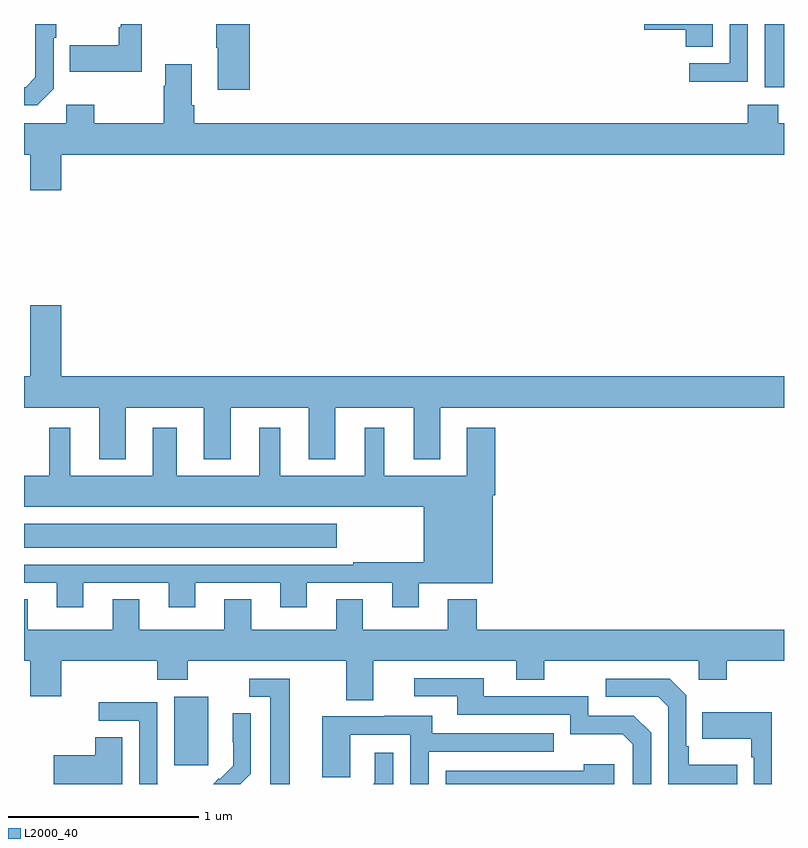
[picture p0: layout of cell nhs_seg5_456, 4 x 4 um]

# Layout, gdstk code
import gdstk
lib = gdstk.Library(unit=1e-6, precision=1e-09)
def R(c, l, rs):  # rectangles x0, y0, x1, y1
    for r in rs: c.add(gdstk.rectangle(r[:2], r[2:], *l))
def P(c, l, *ps):  # polygons
    for p in ps: c.add(gdstk.Polygon(p, *l))
L2000_40 = (2000, 40)

nhs_seg5_456 = lib.new_cell('nhs_seg5_456')
R(nhs_seg5_456, L2000_40, [(141.791,834.897,141.97,835.258), (141,836.042,142.645,836.17), (144.899,838.466,145,838.799)])
P(nhs_seg5_456, L2000_40, [(142.187,838.799),(142.012,838.799),(142.012,838.675),(142.019,838.675),(142.019,838.452),(142.187,838.452)],
  [(141.156,838.458),(141.156,838.727),(141.169,838.727),(141.169,838.799),(141.06,838.799),(141.06,838.518),(141.009,838.467),(141,838.467),(141,838.371),(141.069,838.371)],
  [(141.619,838.799),(141.51,838.799),(141.51,838.783),(141.498,838.783),(141.498,838.687),(141.241,838.687),(141.241,838.547),(141.619,838.547)],
  [(144.625,838.799),(144.264,838.799),(144.264,838.769),(144.482,838.769),(144.482,838.678),(144.625,838.678)],
  [(144.81,838.799),(144.714,838.799),(144.714,838.593),(144.501,838.593),(144.501,838.495),(144.81,838.495)],
  [(141.196,838.112),(145,838.112),(145,838.276),(144.969,838.276),(144.969,838.375),(144.809,838.375),(144.809,838.276),(141.896,838.276),(141.896,838.372),(141.883,838.372),(141.883,838.588),(141.743,838.588),(141.743,838.475),(141.736,838.475),(141.736,838.276),(141.369,838.276),(141.369,838.375),(141.222,838.375),(141.222,838.276),(141,838.276),(141,838.112),(141.032,838.112),(141.032,837.924),(141.196,837.924)],
  [(141.535,836.78),(141.947,836.78),(141.947,836.507),(142.087,836.507),(142.087,836.78),(142.499,836.78),(142.499,836.507),(142.639,836.507),(142.639,836.78),(143.051,836.78),(143.051,836.507),(143.191,836.507),(143.191,836.78),(145,836.78),(145,836.944),(141.196,836.944),(141.196,837.319),(141.032,837.319),(141.032,836.944),(141,836.944),(141,836.78),(141.395,836.78),(141.395,836.507),(141.535,836.507)],
  [(141.313,835.857),(141.761,835.857),(141.761,835.728),(141.901,835.728),(141.901,835.857),(142.349,835.857),(142.349,835.728),(142.489,835.728),(142.489,835.857),(142.937,835.857),(142.937,835.728),(143.077,835.728),(143.077,835.856),(143.467,835.856),(143.467,836.318),(143.48,836.318),(143.48,836.674),(143.33,836.674),(143.33,836.422),(142.897,836.422),(142.897,836.674),(142.793,836.674),(142.793,836.422),(142.348,836.422),(142.348,836.674),(142.238,836.674),(142.238,836.422),(141.805,836.422),(141.805,836.674),(141.677,836.674),(141.677,836.422),(141.244,836.422),(141.244,836.674),(141.134,836.674),(141.134,836.422),(141,836.422),(141,836.258),(143.105,836.258),(143.105,835.966),(142.732,835.966),(142.732,835.953),(141,835.953),(141,835.857),(141.173,835.857),(141.173,835.728),(141.313,835.728)],
  [(142.837,835.448),(143.591,835.448),(143.591,835.349),(143.739,835.349),(143.739,835.448),(144.552,835.448),(144.552,835.349),(144.699,835.349),(144.699,835.448),(145,835.448),(145,835.612),(143.384,835.612),(143.384,835.771),(143.231,835.771),(143.231,835.612),(142.783,835.612),(142.783,835.772),(142.643,835.772),(142.643,835.612),(142.195,835.612),(142.195,835.772),(142.055,835.772),(142.055,835.612),(141.607,835.612),(141.607,835.772),(141.467,835.772),(141.467,835.612),(141.019,835.612),(141.019,835.772),(141,835.772),(141,835.448),(141.032,835.448),(141.032,835.26),(141.196,835.26),(141.196,835.448),(141.701,835.448),(141.701,835.349),(141.861,835.349),(141.861,835.448),(142.697,835.448),(142.697,835.24),(142.837,835.24)],
  [(144.3,835.068),(144.21,835.158),(143.97,835.158),(143.97,835.26),(143.419,835.26),(143.419,835.356),(143.055,835.356),(143.055,835.26),(143.279,835.26),(143.279,835.164),(143.874,835.164),(143.874,835.061),(144.151,835.061),(144.204,835.008),(144.204,834.799),(144.3,834.799)],
  [(144.755,834.901),(144.499,834.901),(144.499,834.997),(144.486,834.997),(144.486,835.266),(144.399,835.353),(144.063,835.353),(144.063,835.257),(144.339,835.257),(144.39,835.206),(144.39,834.799),(144.755,834.799)],
  [(142.399,835.353),(142.185,835.353),(142.185,835.257),(142.295,835.257),(142.295,834.799),(142.399,834.799)],
  [(141.705,834.8),(141.702,834.8),(141.702,835.23),(141.393,835.23),(141.393,835.131),(141.606,835.131),(141.606,834.799),(141.705,834.799)],
  [(144.936,835.177),(144.571,835.177),(144.571,835.037),(144.828,835.037),(144.828,834.941),(144.84,834.941),(144.84,834.799),(144.936,834.799)],
  [(142.194,834.854),(142.194,835.172),(142.098,835.172),(142.098,835.018),(142.1,835.018),(142.1,834.896),(142.029,834.825),(142.026,834.828),(141.997,834.799),(142.139,834.799)],
  [(143.13,834.969),(143.789,834.969),(143.789,835.065),(143.149,835.065),(143.149,835.159),(142.895,835.159),(142.895,835.155),(142.571,835.155),(142.571,834.835),(142.716,834.835),(142.716,835.059),(143.034,835.059),(143.034,834.799),(143.13,834.799)],
  [(141.517,835.046),(141.374,835.046),(141.374,834.951),(141.156,834.951),(141.156,834.799),(141.517,834.799)],
  [(142.944,834.964),(142.847,834.964),(142.847,834.807),(142.839,834.799),(142.944,834.799)],
  [(144.106,834.904),(143.945,834.904),(143.945,834.87),(143.22,834.87),(143.22,834.799),(144.106,834.799)])

lib.write_gds('nhs_seg5_456.gds')
